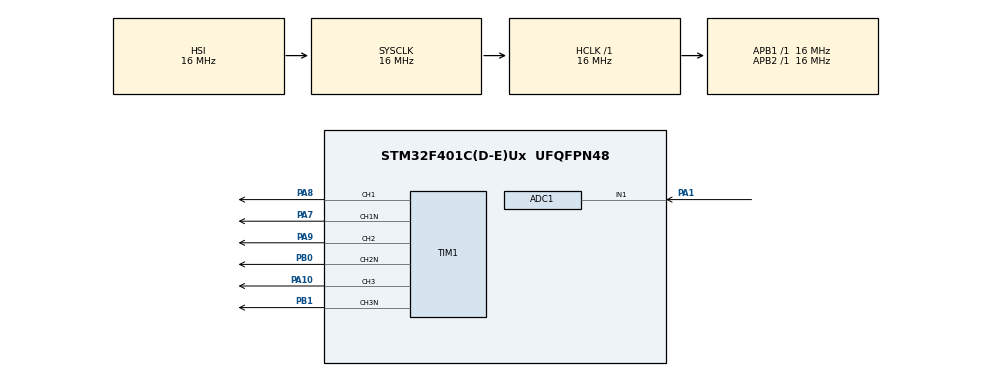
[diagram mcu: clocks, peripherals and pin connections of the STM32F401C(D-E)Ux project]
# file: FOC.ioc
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ADC1.Channel-1\#ChannelRegularConversion=ADC_CHANNEL_1
ADC1.ContinuousConvMode=ENABLE
ADC1.NbrOfConversion=1
ADC1.NbrOfConversionFlag=1
ADC1.Rank-1\#ChannelRegularConversion=1
ADC1.SamplingTime-1\#ChannelRegularConversion=ADC_SAMPLETIME_3CYCLES
ADC1.master=1
Mcu.Family=STM32F4
Mcu.Name=STM32F401C(D-E)Ux
Mcu.Package=UFQFPN48
NVIC.PriorityGroup=NVIC_PRIORITYGROUP_4
PA1.Signal=ADCx_IN1
PA10.Signal=S_TIM1_CH3
PA7.Mode=PWM Generation1 CH1 CH1N
PA7.Signal=TIM1_CH1N
PA8.Signal=S_TIM1_CH1
PA9.Signal=S_TIM1_CH2
PB0.Mode=PWM Generation2 CH2 CH2N
PB0.Signal=TIM1_CH2N
PB1.Mode=PWM Generation3 CH3 CH3N
PB1.Signal=TIM1_CH3N
ProjectManager.HeapSize=0x200
ProjectManager.StackSize=0x400
ProjectManager.TargetToolchain=STM32CubeIDE
RCC.48MHZClocksFreq_Value=32000000
RCC.AHBFreq_Value=16000000
RCC.APB1Freq_Value=16000000
RCC.APB1TimFreq_Value=16000000
RCC.APB2Freq_Value=16000000
RCC.APB2TimFreq_Value=16000000
RCC.CortexFreq_Value=16000000
RCC.HCLKFreq_Value=16000000
RCC.HSE_VALUE=25000000
RCC.HSI_VALUE=16000000
RCC.LSE_VALUE=32768
RCC.PLLM=24
RCC.SYSCLKFreq_VALUE=16000000
RCC.VCOOutputFreq_Value=128000000
SH.ADCx_IN1.0=ADC1_IN1,IN1
SH.S_TIM1_CH1.0=TIM1_CH1,PWM Generation1 CH1 CH1N
SH.S_TIM1_CH2.0=TIM1_CH2,PWM Generation2 CH2 CH2N
SH.S_TIM1_CH3.0=TIM1_CH3,PWM Generation3 CH3 CH3N
TIM1.Channel-PWM\ Generation1\ CH1\ CH1N=TIM_CHANNEL_1
TIM1.Channel-PWM\ Generation2\ CH2\ CH2N=TIM_CHANNEL_2
TIM1.Channel-PWM\ Generation3\ CH3\ CH3N=TIM_CHANNEL_3
VP_TIM1_VS_ClockSourceINT.Mode=Internal
board=custom

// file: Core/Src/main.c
/* USER CODE BEGIN Header */
/**
  ******************************************************************************
  * @file           : main.c
  * @brief          : Main program body
  ******************************************************************************
  * @attention
  *
  * Copyright (c) 2026 STMicroelectronics.
  * All rights reserved.
  *
  * This software is licensed under terms that can be found in the LICENSE file
  * in the root directory of this software component.
  * If no LICENSE file comes with this software, it is provided AS-IS.
  *
  ******************************************************************************
  */
/* USER CODE END Header */
#include "main.h"

/* USER CODE BEGIN Includes */
#include <stdint-gcc.h>
#include <stdio.h>
#include <math.h>
/* USER CODE END Includes */

/* USER CODE BEGIN PD */

#define BIPOLAR_MODULATION

#define MODULATION_98

/* USER CODE END PD */

ADC_HandleTypeDef hadc1;

TIM_HandleTypeDef htim1;

void SystemClock_Config(void);
static void MX_GPIO_Init(void);
static void MX_TIM1_Init(void);
static void MX_ADC1_Init(void);

/* USER CODE BEGIN 0 */

#ifdef MODULATION_98
float m = 0.98f;
#else
float m = 0.5f;
#endif

volatile float angle = 0.0f;
volatile float freq = 60.0f;          // frecuencia de salida (Hz)
float Ts = 0.0001f;         // tiempo de muestreo (1 ms aprox)

volatile float ramp_up = 0.001f;

volatile uint32_t adc_raw = 0;

volatile float freq_target = 35.0f;
volatile float freq_filtered = 35.0f;
/* USER CODE END 0 */

int main(void)
{

  /* MCU Configuration--------------------------------------------------------*/

  /* Reset of all peripherals, Initializes the Flash interface and the Systick. */
  HAL_Init();

  /* USER CODE BEGIN Init */
  printf("Init\n");
  /* USER CODE END Init */

  /* Configure the system clock */
  SystemClock_Config();

  /* Initialize all configured peripherals */
  MX_GPIO_Init();
  MX_TIM1_Init();
  MX_ADC1_Init();
  /* USER CODE BEGIN 2 */

  HAL_TIM_PWM_Start(&htim1, TIM_CHANNEL_1);
  HAL_TIM_PWM_Start(&htim1, TIM_CHANNEL_2);
  HAL_TIM_PWM_Start(&htim1, TIM_CHANNEL_3);

  // Si usas complementarios (driver de medio puente)
  HAL_TIMEx_PWMN_Start(&htim1, TIM_CHANNEL_1);
  HAL_TIMEx_PWMN_Start(&htim1, TIM_CHANNEL_2);
  HAL_TIMEx_PWMN_Start(&htim1, TIM_CHANNEL_3);

  // Habilita salidas avanzadas (CRÍTICO en TIM1)
  __HAL_TIM_MOE_ENABLE(&htim1);

  __HAL_TIM_SET_COMPARE(&htim1, TIM_CHANNEL_1, 500);
  HAL_TIM_Base_Start_IT(&htim1);

  HAL_ADC_Start(&hadc1);

  /* USER CODE END 2 */

  /* Infinite loop */
  /* USER CODE BEGIN WHILE */
  while (1)
  {
	  printf("Init\n");

	  HAL_ADC_Start(&hadc1);   // 👈 CLAVE
	  /* USER CODE BEGIN 3 */
	  if (HAL_ADC_PollForConversion(&hadc1, 10) == HAL_OK)
	  {
		  HAL_ADC_PollForConversion(&hadc1, 1);
		  adc_raw = HAL_ADC_GetValue(&hadc1);
		  printf("%lu\r\n", adc_raw);
		  HAL_Delay(100);

		  freq_target = 5.0f + ((float)adc_raw / 4095.0f) * 55.0f;

		  freq_filtered = 0.9f * freq_filtered + 0.1f * freq_target;
		  freq = freq_filtered;

		  m = 0.15f + 0.83f*(freq/60.0f);

		  if (m > 0.98f)
		      m = 0.98f;
	  }
	  /* USER CODE END 3 */
  }
    /* USER CODE END WHILE */
}

void SystemClock_Config(void)
{
  RCC_OscInitTypeDef RCC_OscInitStruct = {0};
  RCC_ClkInitTypeDef RCC_ClkInitStruct = {0};

  /** Configure the main internal regulator output voltage
  */
  __HAL_RCC_PWR_CLK_ENABLE();
  __HAL_PWR_VOLTAGESCALING_CONFIG(PWR_REGULATOR_VOLTAGE_SCALE2);

  /** Initializes the RCC Oscillators according to the specified parameters
  * in the RCC_OscInitTypeDef structure.
  */
  RCC_OscInitStruct.OscillatorType = RCC_OSCILLATORTYPE_HSI;
  RCC_OscInitStruct.HSIState = RCC_HSI_ON;
  RCC_OscInitStruct.HSICalibrationValue = RCC_HSICALIBRATION_DEFAULT;
  RCC_OscInitStruct.PLL.PLLState = RCC_PLL_NONE;
  if (HAL_RCC_OscConfig(&RCC_OscInitStruct) != HAL_OK)
  {
    Error_Handler();
  }

  /** Initializes the CPU, AHB and APB buses clocks
  */
  RCC_ClkInitStruct.ClockType = RCC_CLOCKTYPE_HCLK|RCC_CLOCKTYPE_SYSCLK
                              |RCC_CLOCKTYPE_PCLK1|RCC_CLOCKTYPE_PCLK2;
  RCC_ClkInitStruct.SYSCLKSource = RCC_SYSCLKSOURCE_HSI;
  RCC_ClkInitStruct.AHBCLKDivider = RCC_SYSCLK_DIV1;
  RCC_ClkInitStruct.APB1CLKDivider = RCC_HCLK_DIV1;
  RCC_ClkInitStruct.APB2CLKDivider = RCC_HCLK_DIV1;

  if (HAL_RCC_ClockConfig(&RCC_ClkInitStruct, FLASH_LATENCY_0) != HAL_OK)
  {
    Error_Handler();
  }
}

static void MX_ADC1_Init(void)
{

  ADC_ChannelConfTypeDef sConfig = {0};

  /** Configure the global features of the ADC (Clock, Resolution, Data Alignment and number of conversion)
  */
  hadc1.Instance = ADC1;
  hadc1.Init.ClockPrescaler = ADC_CLOCK_SYNC_PCLK_DIV2;
  hadc1.Init.Resolution = ADC_RESOLUTION_12B;
  hadc1.Init.ScanConvMode = DISABLE;
  hadc1.Init.ContinuousConvMode = ENABLE;
  hadc1.Init.DiscontinuousConvMode = DISABLE;
  hadc1.Init.ExternalTrigConvEdge = ADC_EXTERNALTRIGCONVEDGE_NONE;
  hadc1.Init.ExternalTrigConv = ADC_SOFTWARE_START;
  hadc1.Init.DataAlign = ADC_DATAALIGN_RIGHT;
  hadc1.Init.NbrOfConversion = 1;
  hadc1.Init.DMAContinuousRequests = DISABLE;
  hadc1.Init.EOCSelection = ADC_EOC_SINGLE_CONV;
  if (HAL_ADC_Init(&hadc1) != HAL_OK)
  {
    Error_Handler();
  }

  /** Configure for the selected ADC regular channel its corresponding rank in the sequencer and its sample time.
  */
  sConfig.Channel = ADC_CHANNEL_1;
  sConfig.Rank = 1;
  sConfig.SamplingTime = ADC_SAMPLETIME_3CYCLES;
  if (HAL_ADC_ConfigChannel(&hadc1, &sConfig) != HAL_OK)
  {
    Error_Handler();
  }

}

static void MX_TIM1_Init(void)
{

  TIM_ClockConfigTypeDef sClockSourceConfig = {0};
  TIM_MasterConfigTypeDef sMasterConfig = {0};
  TIM_OC_InitTypeDef sConfigOC = {0};
  TIM_BreakDeadTimeConfigTypeDef sBreakDeadTimeConfig = {0};

  htim1.Instance = TIM1;
  htim1.Init.Prescaler = 0;
  htim1.Init.CounterMode = TIM_COUNTERMODE_UP;
  htim1.Init.Period = 1600;
  htim1.Init.ClockDivision = TIM_CLOCKDIVISION_DIV1;
  htim1.Init.RepetitionCounter = 0;
  htim1.Init.AutoReloadPreload = TIM_AUTORELOAD_PRELOAD_DISABLE;
  if (HAL_TIM_Base_Init(&htim1) != HAL_OK)
  {
    Error_Handler();
  }
  sClockSourceConfig.ClockSource = TIM_CLOCKSOURCE_INTERNAL;
  if (HAL_TIM_ConfigClockSource(&htim1, &sClockSourceConfig) != HAL_OK)
  {
    Error_Handler();
  }
  if (HAL_TIM_PWM_Init(&htim1) != HAL_OK)
  {
    Error_Handler();
  }
  sMasterConfig.MasterOutputTrigger = TIM_TRGO_RESET;
  sMasterConfig.MasterSlaveMode = TIM_MASTERSLAVEMODE_DISABLE;
  if (HAL_TIMEx_MasterConfigSynchronization(&htim1, &sMasterConfig) != HAL_OK)
  {
    Error_Handler();
  }
  sConfigOC.OCMode = TIM_OCMODE_PWM1;
  sConfigOC.Pulse = 0;
  sConfigOC.OCPolarity = TIM_OCPOLARITY_HIGH;
  sConfigOC.OCNPolarity = TIM_OCNPOLARITY_HIGH;
  sConfigOC.OCFastMode = TIM_OCFAST_DISABLE;
  sConfigOC.OCIdleState = TIM_OCIDLESTATE_RESET;
  sConfigOC.OCNIdleState = TIM_OCNIDLESTATE_RESET;
  if (HAL_TIM_PWM_ConfigChannel(&htim1, &sConfigOC, TIM_CHANNEL_1) != HAL_OK)
  {
    Error_Handler();
  }
  if (HAL_TIM_PWM_ConfigChannel(&htim1, &sConfigOC, TIM_CHANNEL_2) != HAL_OK)
  {
    Error_Handler();
  }
  if (HAL_TIM_PWM_ConfigChannel(&htim1, &sConfigOC, TIM_CHANNEL_3) != HAL_OK)
  {
    Error_Handler();
  }
  sBreakDeadTimeConfig.OffStateRunMode = TIM_OSSR_DISABLE;
  sBreakDeadTimeConfig.OffStateIDLEMode = TIM_OSSI_DISABLE;
  sBreakDeadTimeConfig.LockLevel = TIM_LOCKLEVEL_OFF;
  sBreakDeadTimeConfig.DeadTime = 48;
  sBreakDeadTimeConfig.BreakState = TIM_BREAK_DISABLE;
  sBreakDeadTimeConfig.BreakPolarity = TIM_BREAKPOLARITY_HIGH;
  sBreakDeadTimeConfig.AutomaticOutput = TIM_AUTOMATICOUTPUT_DISABLE;
  if (HAL_TIMEx_ConfigBreakDeadTime(&htim1, &sBreakDeadTimeConfig) != HAL_OK)
  {
    Error_Handler();
  }
  HAL_TIM_MspPostInit(&htim1);

}

static void MX_GPIO_Init(void)
{

  /* GPIO Ports Clock Enable */
  __HAL_RCC_GPIOA_CLK_ENABLE();
  __HAL_RCC_GPIOB_CLK_ENABLE();

  /* USER CODE BEGIN MX_GPIO_Init_2 */
  HAL_NVIC_SetPriority(TIM1_UP_TIM10_IRQn, 0, 0);
  HAL_NVIC_EnableIRQ(TIM1_UP_TIM10_IRQn);
  /* USER CODE END MX_GPIO_Init_2 */
}

/* USER CODE BEGIN 4 */
void HAL_TIM_PeriodElapsedCallback(TIM_HandleTypeDef *htim)
{
    if (htim->Instance == TIM1)
    {
#ifdef BIPOLAR_MODULATION

    	float sin1 = ramp_up * m * sinf(angle);
    	float sin2 = ramp_up * m * sinf(angle + 2.0f * M_PI / 3.0f);
    	float sin3 = ramp_up * m * sinf(angle + 4.0f * M_PI / 3.0f);

        float period = htim1.Init.Period;

        // Mapear [-1,1] → [0, period]
        uint32_t duty1 = (sin1 + 1.0f) * 0.5f * period;
        uint32_t duty2 = (sin2 + 1.0f) * 0.5f * period;
        uint32_t duty3 = (sin3 + 1.0f) * 0.5f * period;

        __HAL_TIM_SET_COMPARE(&htim1, TIM_CHANNEL_1, duty1);
        __HAL_TIM_SET_COMPARE(&htim1, TIM_CHANNEL_2, duty2);
        __HAL_TIM_SET_COMPARE(&htim1, TIM_CHANNEL_3, duty3);

        // Avanzar ángulo
        angle += 2.0f * M_PI * freq * Ts;

        if (angle > 2.0f * M_PI)
            angle -= 2.0f * M_PI;
#else

        // Calculamos el valor del seno (-1.0 a 1.0)
        float sin_val = ramp_up * m * sinf(angle);
        float period = htim1.Init.Period;

        uint32_t dutyA = 0;
        uint32_t dutyB = 0;

        if (sin_val >= 0.0f)
        {
            // Semiciclo POSITIVO:
            // CH1 modula con la onda senoidal, CH2 se mantiene apagado (0%)
            dutyA = sin_val * period;
            dutyB = 0;
        }
        else
        {
            // Semiciclo NEGATIVO:
            // CH1 se mantiene apagado (0%), CH2 modula con el valor absoluto de la onda
            dutyA = 0;
            dutyB = (-sin_val) * period; // -sin_val lo vuelve positivo
        }

        // El canal 3 lo dejamos al 50% o a 0 según lo que necesites para tu hardware
        uint32_t dutyC = 0xFF;

        __HAL_TIM_SET_COMPARE(&htim1, TIM_CHANNEL_1, dutyA);
        __HAL_TIM_SET_COMPARE(&htim1, TIM_CHANNEL_2, dutyB);
        __HAL_TIM_SET_COMPARE(&htim1, TIM_CHANNEL_3, dutyC);

        // Avance angular
        angle += 2.0f * M_PI * freq * Ts;

        if (angle > 2.0f * M_PI)
        {
            angle -= 2.0f * M_PI;
        }
#endif

    }

    if (ramp_up < 1.0f)
    {
    	ramp_up += 0.0001f;
    }
}
/* USER CODE END 4 */

void Error_Handler(void)
{
  __disable_irq();
  while (1)
  {
  }
}
